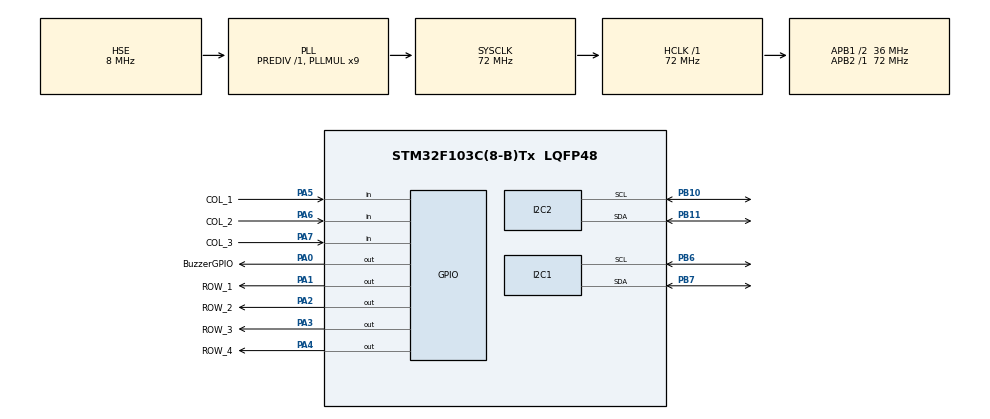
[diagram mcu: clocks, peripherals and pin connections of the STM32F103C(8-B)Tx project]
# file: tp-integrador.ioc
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I2C1.I2C_Mode=I2C_Fast
Mcu.Family=STM32F1
Mcu.Name=STM32F103C(8-B)Tx
Mcu.Package=LQFP48
NVIC.PriorityGroup=NVIC_PRIORITYGROUP_4
NVIC.TIM1_UP_IRQn=true\:15\:0\:false\:false\:true\:false\:true
NVIC.TimeBase=TIM1_UP_IRQn
NVIC.TimeBaseIP=TIM1
PA0-WKUP.GPIO_Label=BuzzerGPIO
PA0-WKUP.Signal=GPIO_Output
PA1.GPIO_Label=ROW_1
PA1.Signal=GPIO_Output
PA13.Mode=Serial_Wire
PA13.Signal=SYS_JTMS-SWDIO
PA14.Mode=Serial_Wire
PA14.Signal=SYS_JTCK-SWCLK
PA2.GPIO_Label=ROW_2
PA2.Signal=GPIO_Output
PA3.GPIO_Label=ROW_3
PA3.Signal=GPIO_Output
PA4.GPIO_Label=ROW_4
PA4.Signal=GPIO_Output
PA5.GPIO_Label=COL_1
PA5.GPIO_PuPd=GPIO_PULLUP
PA5.Signal=GPIO_Input
PA6.GPIO_Label=COL_2
PA6.GPIO_PuPd=GPIO_PULLUP
PA6.Signal=GPIO_Input
PA7.GPIO_Label=COL_3
PA7.GPIO_PuPd=GPIO_PULLUP
PA7.Signal=GPIO_Input
PB10.Mode=I2C
PB10.Signal=I2C2_SCL
PB11.Mode=I2C
PB11.Signal=I2C2_SDA
PB6.Mode=I2C
PB6.Signal=I2C1_SCL
PB7.Mode=I2C
PB7.Signal=I2C1_SDA
PC14-OSC32_IN.Mode=LSE-External-Oscillator
PC14-OSC32_IN.Signal=RCC_OSC32_IN
PC15-OSC32_OUT.Mode=LSE-External-Oscillator
PC15-OSC32_OUT.Signal=RCC_OSC32_OUT
PD0-OSC_IN.Mode=HSE-External-Oscillator
PD0-OSC_IN.Signal=RCC_OSC_IN
PD1-OSC_OUT.Mode=HSE-External-Oscillator
PD1-OSC_OUT.Signal=RCC_OSC_OUT
ProjectManager.HeapSize=0x200
ProjectManager.StackSize=0x400
ProjectManager.TargetToolchain=STM32CubeIDE
RCC.ADCPresc=RCC_ADCPCLK2_DIV6
RCC.AHBFreq_Value=72000000
RCC.APB1CLKDivider=RCC_HCLK_DIV2
RCC.APB1Freq_Value=36000000
RCC.APB1TimFreq_Value=72000000
RCC.APB2Freq_Value=72000000
RCC.APB2TimFreq_Value=72000000
RCC.HCLKFreq_Value=72000000
RCC.PLLMUL=RCC_PLL_MUL9
RCC.PLLSourceVirtual=RCC_PLLSOURCE_HSE
RCC.SYSCLKFreq_VALUE=72000000
RCC.SYSCLKSource=RCC_SYSCLKSOURCE_PLLCLK
RCC.USBFreq_Value=72000000
VP_RTC_VS_RTC_Activate.Mode=RTC_Enabled
VP_SYS_VS_tim1.Mode=TIM1
board=custom

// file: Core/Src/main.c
/* USER CODE BEGIN Header */
/**
 ******************************************************************************
 * @file           : main.c
 * @brief          : Main program body
 ******************************************************************************
 * @attention
 *
 * <h2><center>&copy; Copyright (c) 2023 STMicroelectronics.
 * All rights reserved.</center></h2>
 *
 * This software component is licensed by ST under BSD 3-Clause license,
 * the "License"; You may not use this file except in compliance with the
 * License. You may obtain a copy of the License at:
 *                        opensource.org/licenses/BSD-3-Clause
 *
 ******************************************************************************
 */
/* USER CODE END Header */
#include "main.h"

/* USER CODE BEGIN Includes */
#include "FreeRTOS.h"
#include "keypad.h"
#include "task.h"
#include "lcd1602_i2c.h"
#include "MPU6050.h"
#include "I2Cdev.h"
#include "queue.h"
#include "math.h"
#include "debounce.h"
#include <stdio.h>
#include "stm32f1xx_hal.h"
/* USER CODE END Includes */

/* USER CODE BEGIN PTD */
typedef struct {
	float AngleRoll;
	float AnglePitch;
} Angle_data;

typedef struct {
	uint8_t AngleValue;
	uint8_t WhichAngle;
} LCD_data;
/* USER CODE END PTD */

/* USER CODE BEGIN PM */
#define Buzzer_On() HAL_GPIO_WritePin(BuzzerGPIO_GPIO_Port, BuzzerGPIO_Pin, GPIO_PIN_RESET)
#define Buzzer_Off() HAL_GPIO_WritePin(BuzzerGPIO_GPIO_Port, BuzzerGPIO_Pin, GPIO_PIN_SET)
#define keyToZero() if(key==11) key = 0
#define ENTER_PITCH 12
#define ENTER_ROLL 	10
#define NO_ANGLE_LCD 0
#define PITCH_ANGLE_LCD 1
#define ROLL_ANGLE_LCD 2
#define ROLL_ANGLE_SET 3
#define PITCH_ANGLE_SET 4
#define ROLL_ANGLE_EEPROM 1
#define PITCH_ANGLE_EEPROM 2
/* USER CODE END PM */

I2C_HandleTypeDef hi2c1;
I2C_HandleTypeDef hi2c2; //Por Hardfault

RTC_HandleTypeDef hrtc;

/* USER CODE BEGIN PV */

QueueHandle_t queueAngle;
QueueHandle_t queueKey;
QueueHandle_t queueLCD;

extern debounce_t deb_col_1;
extern debounce_t deb_col_2;
extern debounce_t deb_col_3;

//todo sacar public solo para debug
char string[128]; // Sin el static el count del semaforo volaba (raro)
Angle_data angle_read;

/* USER CODE END PV */

void SystemClock_Config(void);
static void MX_GPIO_Init(void);
static void MX_I2C1_Init(void);
static void MX_I2C2_Init(void);
static void MX_RTC_Init(void);

/* USER CODE BEGIN 0 */

/**
 * \fn 		: saveAngleSet
 * \brief 	: Guarda el angulo a la Sram del RTC
 * \details :
 * \author 	: PR2
 * \date   	: 01/07/2023
 * \param 	: [in] uint8_t whichAngle : ROLL_ANGLE_EEPROM or PITCH_ANGLE_EEPROM
 * \param 	: [in] uint8_t angle : Valor a almacenar
 * \return 	: void
 * */
void saveAngleSet(uint8_t angle, uint8_t whichAngle){

	HAL_RTCEx_BKUPWrite(&hrtc, whichAngle, angle);

}
/**
 * \fn 		: readAngleSet
 * \brief 	: Lee el angulo desde la Sram del RTC
 * \details :
 * \author 	: PR2
 * \date   	: 01/07/2023
 * \param 	: [in] uint8_t whichAngle : ROLL_ANGLE_EEPROM or PITCH_ANGLE_EEPROM
 * \return 	: uint8_t: Valor del angulo almacenado
 * */
uint8_t readAngleSet(uint8_t whichAngle){

	return (uint8_t) HAL_RTCEx_BKUPRead(&hrtc, whichAngle);

}

/**
 * \fn 		: MPU6050_Task
 * \brief 	: Obtiene aceleracion y devuelve el calculo del angulo.
 * \details : Se ejecuta cada vez que se libera la cola queueAngle.
 * \author 	: PR2
 * \date   	: 01/07/2023
 * \param 	: Void
 * \return 	: Void
 * */
static void MPU6050_Task(void *pvParameters) {
	int16_t ax, ay, az;

	float AccXinG, AccYinG, AccZinG;

	Angle_data angle_to_send;

	while (1) {

		MPU6050_getAcceleration(&ax, &ay, &az);

		AccXinG = (float) ax / 4096;
		AccYinG = (float) ay / 4096;
		AccZinG = (float) az / 4096;

		angle_to_send.AngleRoll = atan(
				AccYinG / sqrt(AccXinG * AccXinG + AccZinG * AccZinG)) * 1
				/ (3.142 / 180) + 90;
		angle_to_send.AnglePitch = atan(
				AccXinG / sqrt(AccYinG * AccYinG + AccZinG * AccZinG)) * 1
				/ (3.142 / 180) + 90;

		xQueueSendToBack(queueAngle, &angle_to_send, portMAX_DELAY);

	}
}

/**
 * \fn 		: KeyPad_Task
 * \brief 	: Lee el teclado e envia a una cola el valor.
 * \details : Se ejecuta cada vez que se libera la cola queueKey.
 * \author 	: PR2
 * \date   	: 01/07/2023
 * \param 	: Void
 * \return 	: Void
 * */
static void KeyPad_Task(void *pvParameters) {

	static uint8_t key;

	while (1) {

		key = read_keypad();
		if (key != 0) {
			keyToZero();
			xQueueSendToBack(queueKey, &key, portMAX_DELAY);
		}
	}

}

/**
 * \fn 		: LCD_Print
 * \brief 	: Escribe en Pantalla
 * \details : Lee la cola LCD que administra sus recursos.
 * \author 	: PR2
 * \date   	: 01/07/2023
 * \param 	: Void
 * \return 	: Void
 * */
static void LCD_Print(void *pvParameters) {

	LCD_data lcd_data_keyboard;

	while (1) {

		xQueueReceive(queueLCD, &lcd_data_keyboard, portMAX_DELAY);

		switch (lcd_data_keyboard.WhichAngle) {
		case NO_ANGLE_LCD:
			lcd_set_cursor(1, 6);
			sprintf(string, "S%.*d", 3, lcd_data_keyboard.AngleValue);
			lcd_string(string);
			break;
		case ROLL_ANGLE_SET:
			lcd_set_cursor(1, 0);
			sprintf(string, "R:%.*d", 3, lcd_data_keyboard.AngleValue);
			lcd_string(string);
			break;
		case PITCH_ANGLE_SET:
			lcd_set_cursor(1, 11);
			sprintf(string, "P:%.*d", 3, lcd_data_keyboard.AngleValue);
			lcd_string(string);
			break;
		case PITCH_ANGLE_LCD:
			lcd_set_cursor(0, 11);
			sprintf(string, "P:%.*d", 3, lcd_data_keyboard.AngleValue);
			lcd_string(string);
			break;
		case ROLL_ANGLE_LCD:
			lcd_set_cursor(0, 0);
			sprintf(string, "R:%.*d", 3, lcd_data_keyboard.AngleValue);
			lcd_string(string);
			break;
		default:
			break;
		}
	}
}

/**
 * \fn 		: SunFounder_Task
 * \brief 	: Maquina principal que administra la UI y el resto de colas
 * \details : Se encarga de la alarma, cola del MPU, cola de la key y envia a la cola LCD
 * \author 	: PR2
 * \date   	: 01/07/2023
 * \param 	: Void
 * \return 	: Void
 * */
static void SunFounder_Task(void *pvParameters) {

	typedef enum {
		STATE_UNIT,
		STATE_DEC,
		STATE_CEN,
		STATE_ENTER,
		STATE_SAVE_PITCH,
		STATE_SAVE_ROLL
	} State;
	static State currentState = STATE_UNIT;

	LCD_data lcd_data;
	lcd_data.WhichAngle = 0;

	//Angle_data angle_read;
	static uint8_t key;
	static uint8_t keyword;
	static uint8_t pitch_angle_set;
	static uint8_t roll_angle_set;

	/*------Leemos Sram e inicializamos LCD----------*/
	pitch_angle_set = readAngleSet(PITCH_ANGLE_EEPROM);
	lcd_data.AngleValue = pitch_angle_set;
	lcd_data.WhichAngle = PITCH_ANGLE_SET;
	xQueueSendToBack(queueLCD, &lcd_data, portMAX_DELAY);

	roll_angle_set = readAngleSet(ROLL_ANGLE_EEPROM);
	lcd_data.AngleValue = roll_angle_set;
	lcd_data.WhichAngle = ROLL_ANGLE_SET;
	xQueueSendToBack(queueLCD, &lcd_data, portMAX_DELAY);

	lcd_data.AngleValue = 0;
	lcd_data.WhichAngle = NO_ANGLE_LCD;
	xQueueSendToBack(queueLCD, &lcd_data, portMAX_DELAY);

	while (1) {

		if (pdTRUE == xQueueReceive(queueAngle, &angle_read, 0)) {

			if ((angle_read.AngleRoll > roll_angle_set - 1
					&& angle_read.AngleRoll < roll_angle_set + 1)
					|| (angle_read.AnglePitch > pitch_angle_set - 1
							&& angle_read.AnglePitch < pitch_angle_set + 1)) {
				Buzzer_On();
			} else {
				Buzzer_Off();
			}

			lcd_data.AngleValue = angle_read.AnglePitch;
			lcd_data.WhichAngle = PITCH_ANGLE_LCD;
			xQueueSendToBack(queueLCD, &lcd_data, portMAX_DELAY);

			lcd_data.AngleValue = angle_read.AngleRoll;
			lcd_data.WhichAngle = ROLL_ANGLE_LCD;
			xQueueSendToBack(queueLCD, &lcd_data, portMAX_DELAY);
		}

		if (pdTRUE == xQueueReceive(queueKey, &key, 0)) {
			switch (currentState) {
			case STATE_UNIT:
				if (key < 10) {
					keyword = key;
					lcd_data.AngleValue = keyword;
					lcd_data.WhichAngle = NO_ANGLE_LCD;
					xQueueSendToBack(queueLCD, &lcd_data, portMAX_DELAY);
					currentState = STATE_DEC;
				}
				break;

			case STATE_DEC:
				if (key < 10) {
					keyword = keyword * 10 + key;
					lcd_data.AngleValue = keyword;
					lcd_data.WhichAngle = NO_ANGLE_LCD;
					xQueueSendToBack(queueLCD, &lcd_data, portMAX_DELAY);
					currentState = STATE_CEN;
				} else if (key == ENTER_ROLL) {
					currentState = STATE_SAVE_ROLL;
				} else if (key == ENTER_PITCH) {
					currentState = STATE_SAVE_PITCH;
				} else {
					keyword = 0;
					currentState = STATE_UNIT;
				}
				break;

			case STATE_CEN:
				if (key < 10) {
					keyword = keyword * 10 + key;
					lcd_data.AngleValue = keyword;
					lcd_data.WhichAngle = NO_ANGLE_LCD;
					xQueueSendToBack(queueLCD, &lcd_data, portMAX_DELAY);
					currentState = STATE_ENTER;
				} else if (key == ENTER_ROLL) {
					currentState = STATE_SAVE_ROLL;
				} else if (key == ENTER_PITCH) {
					currentState = STATE_SAVE_PITCH;
				} else {
					keyword = 0;
					currentState = STATE_UNIT;
				}
				break;
			case STATE_ENTER:
				if (key < 10) {
					keyword = 0;
					lcd_data.AngleValue = keyword;
					lcd_data.WhichAngle = NO_ANGLE_LCD;
					xQueueSendToBack(queueLCD, &lcd_data, portMAX_DELAY);
					currentState = STATE_UNIT;
				} else if (key == ENTER_ROLL) {
					currentState = STATE_SAVE_ROLL;
				} else if (key == ENTER_PITCH) {
					currentState = STATE_SAVE_PITCH;
				} else {
					keyword = 0;
					currentState = STATE_UNIT;
				}
				break;

			case STATE_SAVE_ROLL:
				roll_angle_set = keyword;
				saveAngleSet(roll_angle_set, ROLL_ANGLE_EEPROM);
				lcd_data.AngleValue = keyword;
				lcd_data.WhichAngle = ROLL_ANGLE_SET;
				xQueueSendToBack(queueLCD, &lcd_data, portMAX_DELAY);
				keyword = 0;
				lcd_data.AngleValue = keyword;
				lcd_data.WhichAngle = NO_ANGLE_LCD;
				xQueueSendToBack(queueLCD, &lcd_data, portMAX_DELAY);
				currentState = STATE_UNIT;
				break;

			case STATE_SAVE_PITCH:
				pitch_angle_set = keyword;
				saveAngleSet(pitch_angle_set, PITCH_ANGLE_EEPROM);
				lcd_data.AngleValue = keyword;
				lcd_data.WhichAngle = PITCH_ANGLE_SET;
				xQueueSendToBack(queueLCD, &lcd_data, portMAX_DELAY);
				keyword = 0;
				lcd_data.AngleValue = keyword;
				lcd_data.WhichAngle = NO_ANGLE_LCD;
				xQueueSendToBack(queueLCD, &lcd_data, portMAX_DELAY);
				currentState = STATE_UNIT;
				break;

			default:
				keyword = 0;
				currentState = STATE_UNIT;
				break;

			}
		}

	}
}

/* USER CODE END 0 */

int main(void)
{

  /* MCU Configuration--------------------------------------------------------*/

  /* Reset of all peripherals, Initializes the Flash interface and the Systick. */
  HAL_Init();

  /* Configure the system clock */
  SystemClock_Config();

  /* Initialize all configured peripherals */
  MX_GPIO_Init();
  MX_I2C1_Init();
  MX_I2C2_Init();
  MX_RTC_Init();
  /* USER CODE BEGIN 2 */

	lcd_init(&hi2c2);

	I2Cdev_init(&hi2c1); // init of i2cdevlib.
	MPU6050_initialize();

	//KeyPad Init
	debounce_init(&deb_col_1, 1, DEBOUNCE_TICKS);
	debounce_init(&deb_col_2, 1, DEBOUNCE_TICKS);
	debounce_init(&deb_col_3, 1, DEBOUNCE_TICKS);

	/*------ Creacion de colas y registro para el Debug ------------*/
	queueAngle = xQueueCreate(1, sizeof(Angle_data)); 	//La escribe la tarea MPU y la consume la tarea Sunfounder.
	queueKey = xQueueCreate(1, sizeof(uint8_t)); 		//La escribe la tarea KeyPadTask, solo cuando se apreta, la consume Sunfounder
	queueLCD = xQueueCreate(1, sizeof(LCD_data));		//La escribe Sunfounder y la consume LCDTask

	vQueueAddToRegistry(queueLCD, "Queue LCD");
	vQueueAddToRegistry(queueKey, "Queue Key");
	vQueueAddToRegistry(queueAngle, "Queue MPU");

	/*------ Creacion de tareas ------------*/
	xTaskCreate(MPU6050_Task, "MPU6050_Task",
	configMINIMAL_STACK_SIZE,
	NULL, 3,
	NULL);

	xTaskCreate(KeyPad_Task, "KeyPad_Task",
	configMINIMAL_STACK_SIZE,
	NULL, 3,
	NULL);

	xTaskCreate(LCD_Print, "LCD_Print",
	configMINIMAL_STACK_SIZE,
	NULL, 3,
	NULL);

	xTaskCreate(SunFounder_Task, 			// Nombre de la función que se ejecutará como tarea
			"SunFounder_Task",              // Nombre de la tarea (cadena vacía)
			configMINIMAL_STACK_SIZE,		// Tamaño de la pila asignado a la tarea
			NULL, 							// Puntero a información que se pasará como argumento a la tarea
			3,                       		// Prioridad de la tarea
			NULL); 							// Puntero a variable para almacenar el identificador de la tarea

	vTaskStartScheduler();

  /* USER CODE END 2 */

  /* Infinite loop */
	while (1) {

	}
}

void SystemClock_Config(void)
{
  RCC_OscInitTypeDef RCC_OscInitStruct = {0};
  RCC_ClkInitTypeDef RCC_ClkInitStruct = {0};
  RCC_PeriphCLKInitTypeDef PeriphClkInit = {0};

  /** Initializes the RCC Oscillators according to the specified parameters
  * in the RCC_OscInitTypeDef structure.
  */
  RCC_OscInitStruct.OscillatorType = RCC_OSCILLATORTYPE_LSI|RCC_OSCILLATORTYPE_HSE;
  RCC_OscInitStruct.HSEState = RCC_HSE_ON;
  RCC_OscInitStruct.HSEPredivValue = RCC_HSE_PREDIV_DIV1;
  RCC_OscInitStruct.HSIState = RCC_HSI_ON;
  RCC_OscInitStruct.LSIState = RCC_LSI_ON;
  RCC_OscInitStruct.PLL.PLLState = RCC_PLL_ON;
  RCC_OscInitStruct.PLL.PLLSource = RCC_PLLSOURCE_HSE;
  RCC_OscInitStruct.PLL.PLLMUL = RCC_PLL_MUL9;
  if (HAL_RCC_OscConfig(&RCC_OscInitStruct) != HAL_OK)
  {
    Error_Handler();
  }
  /** Initializes the CPU, AHB and APB buses clocks
  */
  RCC_ClkInitStruct.ClockType = RCC_CLOCKTYPE_HCLK|RCC_CLOCKTYPE_SYSCLK
                              |RCC_CLOCKTYPE_PCLK1|RCC_CLOCKTYPE_PCLK2;
  RCC_ClkInitStruct.SYSCLKSource = RCC_SYSCLKSOURCE_PLLCLK;
  RCC_ClkInitStruct.AHBCLKDivider = RCC_SYSCLK_DIV1;
  RCC_ClkInitStruct.APB1CLKDivider = RCC_HCLK_DIV2;
  RCC_ClkInitStruct.APB2CLKDivider = RCC_HCLK_DIV1;

  if (HAL_RCC_ClockConfig(&RCC_ClkInitStruct, FLASH_LATENCY_2) != HAL_OK)
  {
    Error_Handler();
  }
  PeriphClkInit.PeriphClockSelection = RCC_PERIPHCLK_RTC;
  PeriphClkInit.RTCClockSelection = RCC_RTCCLKSOURCE_LSI;
  if (HAL_RCCEx_PeriphCLKConfig(&PeriphClkInit) != HAL_OK)
  {
    Error_Handler();
  }
}

static void MX_I2C1_Init(void)
{

  hi2c1.Instance = I2C1;
  hi2c1.Init.ClockSpeed = 400000;
  hi2c1.Init.DutyCycle = I2C_DUTYCYCLE_2;
  hi2c1.Init.OwnAddress1 = 0;
  hi2c1.Init.AddressingMode = I2C_ADDRESSINGMODE_7BIT;
  hi2c1.Init.DualAddressMode = I2C_DUALADDRESS_DISABLE;
  hi2c1.Init.OwnAddress2 = 0;
  hi2c1.Init.GeneralCallMode = I2C_GENERALCALL_DISABLE;
  hi2c1.Init.NoStretchMode = I2C_NOSTRETCH_DISABLE;
  if (HAL_I2C_Init(&hi2c1) != HAL_OK)
  {
    Error_Handler();
  }

}

static void MX_I2C2_Init(void)
{

  hi2c2.Instance = I2C2;
  hi2c2.Init.ClockSpeed = 100000;
  hi2c2.Init.DutyCycle = I2C_DUTYCYCLE_2;
  hi2c2.Init.OwnAddress1 = 0;
  hi2c2.Init.AddressingMode = I2C_ADDRESSINGMODE_7BIT;
  hi2c2.Init.DualAddressMode = I2C_DUALADDRESS_DISABLE;
  hi2c2.Init.OwnAddress2 = 0;
  hi2c2.Init.GeneralCallMode = I2C_GENERALCALL_DISABLE;
  hi2c2.Init.NoStretchMode = I2C_NOSTRETCH_DISABLE;
  if (HAL_I2C_Init(&hi2c2) != HAL_OK)
  {
    Error_Handler();
  }

}

static void MX_RTC_Init(void)
{

  /** Initialize RTC Only
  */
  hrtc.Instance = RTC;
  hrtc.Init.AsynchPrediv = RTC_AUTO_1_SECOND;
  hrtc.Init.OutPut = RTC_OUTPUTSOURCE_ALARM;
  if (HAL_RTC_Init(&hrtc) != HAL_OK)
  {
    Error_Handler();
  }

}

static void MX_GPIO_Init(void)
{
  GPIO_InitTypeDef GPIO_InitStruct = {0};

  /* GPIO Ports Clock Enable */
  __HAL_RCC_GPIOC_CLK_ENABLE();
  __HAL_RCC_GPIOD_CLK_ENABLE();
  __HAL_RCC_GPIOA_CLK_ENABLE();
  __HAL_RCC_GPIOB_CLK_ENABLE();

  /*Configure GPIO pin Output Level */
  HAL_GPIO_WritePin(GPIOA, BuzzerGPIO_Pin|ROW_1_Pin|ROW_2_Pin|ROW_3_Pin
                          |ROW_4_Pin, GPIO_PIN_RESET);

  /*Configure GPIO pins : BuzzerGPIO_Pin ROW_1_Pin ROW_2_Pin ROW_3_Pin
                           ROW_4_Pin */
  GPIO_InitStruct.Pin = BuzzerGPIO_Pin|ROW_1_Pin|ROW_2_Pin|ROW_3_Pin
                          |ROW_4_Pin;
  GPIO_InitStruct.Mode = GPIO_MODE_OUTPUT_PP;
  GPIO_InitStruct.Pull = GPIO_NOPULL;
  GPIO_InitStruct.Speed = GPIO_SPEED_FREQ_LOW;
  HAL_GPIO_Init(GPIOA, &GPIO_InitStruct);

  /*Configure GPIO pins : COL_1_Pin COL_2_Pin COL_3_Pin */
  GPIO_InitStruct.Pin = COL_1_Pin|COL_2_Pin|COL_3_Pin;
  GPIO_InitStruct.Mode = GPIO_MODE_INPUT;
  GPIO_InitStruct.Pull = GPIO_PULLUP;
  HAL_GPIO_Init(GPIOA, &GPIO_InitStruct);

}

void HAL_TIM_PeriodElapsedCallback(TIM_HandleTypeDef *htim)
{
  if (htim->Instance == TIM1) {
    HAL_IncTick();
  }
}

void Error_Handler(void)
{
	__disable_irq();
	while (1) {
	}
}

/************************ (C) COPYRIGHT STMicroelectronics *****END OF FILE****/
